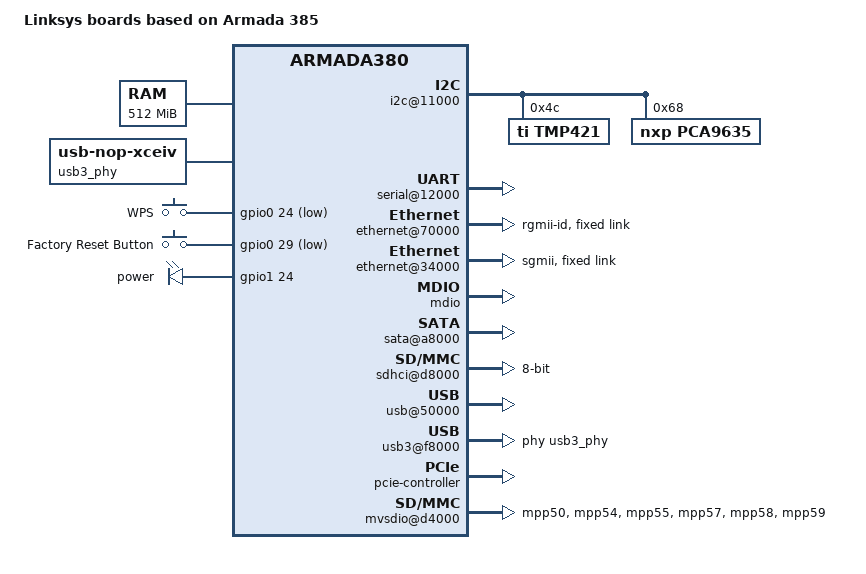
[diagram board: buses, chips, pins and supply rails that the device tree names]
/*
 * Device Tree include file for Armada 385 based Linksys boards
 *
 * Copyright (C) 2015 Imre Kaloz <kaloz@openwrt.org>
 *
 *
 * This file is dual-licensed: you can use it either under the terms
 * of the GPL or the X11 license, at your option. Note that this dual
 * licensing only applies to this file, and not this project as a
 * whole.
 *
 *  a) This file is licensed under the terms of the GNU General Public
 *     License version 2.  This program is licensed "as is" without
 *     any warranty of any kind, whether express or implied.
 *
 * Or, alternatively,
 *
 *  b) Permission is hereby granted, free of charge, to any person
 *     obtaining a copy of this software and associated documentation
 *     files (the "Software"), to deal in the Software without
 *     restriction, including without limitation the rights to use,
 *     copy, modify, merge, publish, distribute, sublicense, and/or
 *     sell copies of the Software, and to permit persons to whom the
 *     Software is furnished to do so, subject to the following
 *     conditions:
 *
 *     The above copyright notice and this permission notice shall be
 *     included in all copies or substantial portions of the Software.
 *
 *     THE SOFTWARE IS PROVIDED "AS IS", WITHOUT WARRANTY OF ANY KIND,
 *     EXPRESS OR IMPLIED, INCLUDING BUT NOT LIMITED TO THE WARRANTIES
 *     OF MERCHANTABILITY, FITNESS FOR A PARTICULAR PURPOSE AND
 *     NONINFRINGEMENT. IN NO EVENT SHALL THE AUTHORS OR COPYRIGHT
 *     HOLDERS BE LIABLE FOR ANY CLAIM, DAMAGES OR OTHER LIABILITY,
 *     WHETHER IN AN ACTION OF CONTRACT, TORT OR OTHERWISE, ARISING
 *     FROM, OUT OF OR IN CONNECTION WITH THE SOFTWARE OR THE USE OR
 *     OTHER DEALINGS IN THE SOFTWARE.
 */

#include <dt-bindings/gpio/gpio.h>
#include <dt-bindings/input/input.h>
#include "armada-395.dtsi"

/ {
	model = "Linksys boards based on Armada 385";
	compatible = "linksys,armada385", "marvell,armada385",
		     "marvell,armada380";

	chosen {
		bootargs = "console=ttyS0,115200";
		stdout-path = &uart0;
	};

	memory {
		device_type = "memory";
		reg = <0x00000000 0x20000000>; /* 512 MB */
	};

	soc {
		ranges = <MBUS_ID(0xf0, 0x01) 0 0xf1000000 0x100000
			  MBUS_ID(0x01, 0x1d) 0 0xfff00000 0x100000
			  MBUS_ID(0x09, 0x19) 0 0xf1100000 0x10000
			  MBUS_ID(0x09, 0x15) 0 0xf1110000 0x10000>;
		internal-regs {

			spi@10600 {
				status = "disabled";
			};

			i2c@11000 {
				pinctrl-names = "default";
				pinctrl-0 = <&i2c0_pins>;
				status = "okay";

				tmp421@4c {
					compatible = "ti,tmp421";
					reg = <0x4c>;
				};

				pca9635@68 {
					#address-cells = <1>;
					#size-cells = <0>;
					compatible = "nxp,pca9635";
					reg = <0x68>;
				};
			};

			/* J10: VCC, NC, RX, NC, TX, GND  */
			serial@12000 {
				status = "okay";
			};

			ethernet@70000 {
				status = "okay";
				phy-mode = "rgmii-id";
				fixed-link {
					speed = <1000>;
					full-duplex;
				};
			};

			ethernet@34000 {
				status = "okay";
				phy-mode = "sgmii";
				fixed-link {
					speed = <1000>;
					full-duplex;
				};
			};

			mdio {
				status = "okay";
			};

			sata@a8000 {
				status = "okay";
			};

			sdhci@d8000 {
				broken-cd;
				wp-inverted;
				bus-width = <8>;
				no-1-8-v;
				status = "okay";
			};

			/* USB part of the eSATA/USB 2.0 port */
			usb@50000 {
				status = "okay";
			};

			usb3@f8000 {
				status = "okay";
				usb-phy = <&usb3_phy>;
			};

			flash@d0000 {
				status = "okay";
				num-cs = <1>;
				nand-ecc-strength = <4>;
				nand-ecc-step-size = <512>;
				marvell,nand-keep-config;
				marvell,nand-enable-arbiter;
				nand-on-flash-bbt;

				partition@0 {
					label = "u-boot";
					reg = <0x0000000 0x200000>;  /* 2MB */
					read-only;
				};

				partition@200000 {
					label = "u_env";
					reg = <0x200000 0x20000>;    /* 128KB */
				};

				partition@220000 {
					label = "s_env";
					reg = <0x220000 0x20000>;    /* 128KB */
				};

				partition@7e0000 {
					label = "devinfo";
					reg = <0x7e0000 0x40000>;   /* 256KB */
					read-only;
				};
				partition@820000 {
					label = "sysdiag";
					reg = <0x820000 0x1e0000>;   /* blahMB */
					read-only;
				};
				/* kernel1 overlaps with rootfs1 by design */
				partition@a00000 {
					label = "linux";
					reg = <0xa00000 0x5000000>;  /* 83MB */
				};

				partition@1000000 {
					label = "rootfs";
					reg = <0x1000000 0x4a00000>;    /* 37MB */
				};

				/* kernel2 overlaps with rootfs2 by design */
				partition@5a00000 {
					label = "linux2";
					reg = <0x5a00000 0x5000000>; /* 40MB */
				};

				partition@6000000 {
					label = "rootfs2";
					reg = <0x6000000 0x4900000>; /* 34MB */
				};

				partition@a900000 {
					label = "nvram";
					reg = <0xa900000 0x40000>;
				};

				/*
				 * 38MB, last MB is for the BBT, not writable
				 */
				partition@aa00000 {
					label = "ddwrt";
					reg = <0xaa00000 0x5600000>;
				};

			};

		};

		pcie-controller {
			status = "okay";

			pcie@1,0 {
				/* Port 0, Lane 0 */
				status = "okay";
			};

			pcie@2,0 {
				/* Port 0, Lane 0 */
				status = "okay";
			};
		};
	};

	usb3_phy: usb3_phy {
		compatible = "usb-nop-xceiv";
	};

	gpio_keys {
		compatible = "gpio-keys";
		#address-cells = <1>;
		#size-cells = <0>;
		pinctrl-0 = <&keys_pin>;
		pinctrl-names = "default";

		button@1 {
			label = "WPS";
			linux,code = <KEY_WPS_BUTTON>;
			gpios = <&gpio0 24 GPIO_ACTIVE_LOW>;
		};

		button@2 {
			label = "Factory Reset Button";
			linux,code = <KEY_RESTART>;
			gpios = <&gpio0 29 GPIO_ACTIVE_LOW>;
		};
	};

	gpio-leds {
		compatible = "gpio-leds";
		pinctrl-0 = <&power_led_pin>;
		pinctrl-names = "default";

		power {
			gpios = <&gpio1 24 GPIO_ACTIVE_HIGH>;
			default-state = "on";
		};
	};

	mvsdio@d4000 {
		compatible = "marvell,orion-sdio";
		pinctrl-0 = <&sdio_pins1>;
		pinctrl-names = "default";
		status = "okay";
		broken-cd;
	};

	mvsw61xx {
		#address-cells = <1>;
		#size-cells = <0>;
		compatible = "marvell,88e6176";
		status = "okay";
		reg = <0x10>;

		mii-bus = <&mdio>;
		cpu-port-0 = <5>;
		cpu-port-1 = <6>;
	};
};

&pinctrl {
	keys_pin: keys-pin {
		marvell,pins = "mpp24", "mpp29";
		marvell,function = "gpio";
	};

	power_led_pin: power-led-pin {
		marvell,pins = "mpp56";
		marvell,function = "gpio";
	};

	sata_led_pin: sata-led-pin {
		marvell,pins = "mpp21";
		marvell,function = "sata1";
	};

	sdio_pins1: sdio_pins1 {
		marvell,pins = "mpp50", "mpp54", "mpp55", "mpp57", "mpp58", "mpp59";
		marvell,function = "sd0";
	};
};
